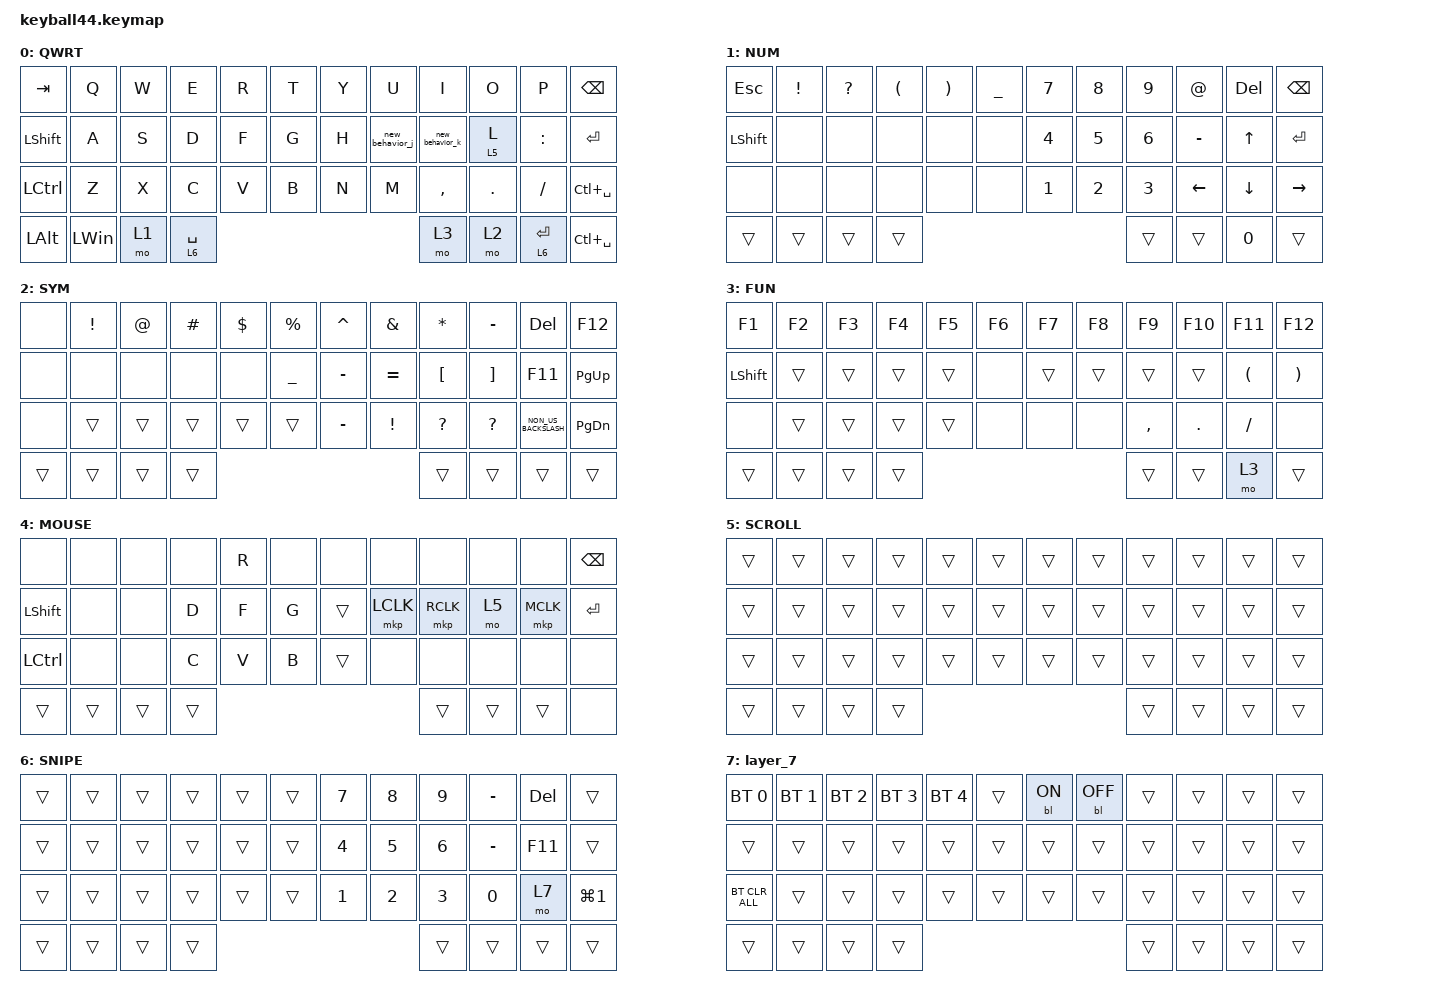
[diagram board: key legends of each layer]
#define DEFAULT 0
#define NUM     1
#define SYM     2
#define FUN     3
#define MOUSE   4
#define SCROLL  5
#define SNIPE   6

#include <behaviors/mouse_keys.dtsi>
#include <dt-bindings/zmk/mouse.h>
#include <behaviors.dtsi>
#include <dt-bindings/zmk/backlight.h>
#include <dt-bindings/zmk/bt.h>
#include <dt-bindings/zmk/keys.h>
#include <dt-bindings/zmk/pointing.h>

&lt {
    tapping-term-ms = <240>;
    flavor = "balanced";
    quick-tap-ms = <150>;
};

&mt {
    tapping-term-ms = <200>;
    flavor = "tap-preferred";
    quick-tap-ms = <150>;
};

&caps_word { continue-list = <UNDERSCORE MINUS>; };

/ {
    // custom shift using mod-morph 

    behaviors {
        cmqus: comma_question {
            compatible = "zmk,behavior-mod-morph";
            label = "COMMA_QUESTION";
            #binding-cells = <0>;
            bindings = <&kp COMMA>, <&kp QUESTION>;

            mods = <(MOD_LSFT|MOD_RSFT)>;
        };

        dtsmi: dot_semi {
            compatible = "zmk,behavior-mod-morph";
            label = "DOT_SEMI";
            #binding-cells = <0>;
            bindings = <&kp DOT>, <&kp SEMI>;

            mods = <(MOD_LSFT|MOD_RSFT)>;
        };

        new_behavior_j: new_behavior_j {
            compatible = "zmk,behavior-tap-dance";
            label = "NEW_BEHAVIOR_J";
            #binding-cells = <0>;
            bindings = <&kp J>, <&mkp MB1>;
        };

        new_behavior_k: new_behavior_k {
            compatible = "zmk,behavior-tap-dance";
            label = "NEW_BEHAVIOR_K";
            #binding-cells = <0>;
            bindings = <&kp K>, <&mkp MB2>;
        };
    };

    combos {
        compatible = "zmk,combos";

        Lcrick {
            bindings = <&mkp LCLK>;
            key-positions = <19 20>;
        };

        Rcrick {
            bindings = <&mkp RCLK>;
            key-positions = <20 21>;
        };

        Space {
            bindings = <&kp SPACE>;
            key-positions = <14 13>;
        };

        F1press {
            bindings = <&kp F1>;
            key-positions = <17 15>;
        };

        F2press {
            bindings = <&kp F2>;
            key-positions = <15 29>;
        };

        conma {
            bindings = <&kp COMMA>;
            key-positions = <32 33>;
        };

        piriod {
            bindings = <&kp PERIOD>;
            key-positions = <33 34>;
        };

        slash {
            bindings = <&kp SLASH>;
            key-positions = <34 35>;
        };
    };

    keymap {
        compatible = "zmk,keymap";

        default_layer {
            label = "QWRT";
            bindings = <
&kp TAB       &kp Q         &kp W  &kp E        &kp R  &kp T             &kp Y        &kp U            &kp I            &kp O       &kp P      &kp BACKSPACE
&kp LSHIFT    &kp A         &kp S  &kp D        &kp F  &kp G             &kp H        &new_behavior_j  &new_behavior_k  &lt 5 L     &kp COLON  &kp ENTER
&kp LCTRL     &kp Z         &kp X  &kp C        &kp V  &kp B             &kp N        &kp M            &kp COMMA        &kp PERIOD  &kp SLASH  &kp LC(SPACE)
&kp LEFT_ALT  &kp LEFT_WIN  &mo 1  &lt 6 SPACE  &mo 3             &mo 2  &lt 6 ENTER                                                           &kp LC(SPACE)
            >;
        };

        number_layer {
            label = "NUM";
            bindings = <
&kp ESCAPE      &kp EXCLAMATION  &kp QUESTION  &kp LEFT_PARENTHESIS  &kp RIGHT_PARENTHESIS  &kp UNDER              &kp N7        &kp N8        &kp N9        &kp AT_SIGN     &kp DEL         &kp BACKSPACE
&kp LEFT_SHIFT  &none            &none         &none                 &none                  &none                  &kp NUMBER_4  &kp N5        &kp NUMBER_6  &kp MINUS       &kp UP_ARROW    &kp ENTER
&none           &none            &none         &none                 &none                  &none                  &kp NUMBER_1  &kp NUMBER_2  &kp NUMBER_3  &kp LEFT_ARROW  &kp DOWN_ARROW  &kp RIGHT
&trans          &trans           &trans        &trans                &trans                                &trans  &kp N0                                                                    &trans
            >;
        };

        symbol_layer {
            label = "SYM";
            bindings = <
&none   &kp EXCLAMATION  &kp AT_SIGN  &kp HASH  &kp DOLLAR  &kp PERCENT              &kp CARET  &kp AMPERSAND    &kp ASTERISK      &kp MINUS          &kp DEL               &kp F12
&none   &none            &none        &none     &none       &kp UNDER                &kp MINUS  &kp EQUAL        &kp LEFT_BRACKET  &kp RIGHT_BRACKET  &kp F11               &kp PAGE_UP
&none   &trans           &trans       &trans    &trans      &trans                   &kp MINUS  &kp EXCLAMATION  &kp QUESTION      &kp QUESTION       &kp NON_US_BACKSLASH  &kp PAGE_DOWN
&trans  &trans           &trans       &trans    &trans                       &trans  &trans                                                                                 &trans
            >;
        };

        function_layer {
            label = "FUN";
            bindings = <
&kp F1          &kp F2  &kp F3  &kp F4  &kp F5  &kp F6              &kp F7  &kp F8  &kp F9     &kp F10     &kp F11               &kp F12
&kp LEFT_SHIFT  &trans  &trans  &trans  &trans  &none               &trans  &trans  &trans     &trans      &kp LEFT_PARENTHESIS  &kp RIGHT_PARENTHESIS
&none           &trans  &trans  &trans  &trans  &none               &none   &none   &kp COMMA  &kp PERIOD  &kp SLASH             &none
&trans          &trans  &trans  &trans  &trans              &trans  &mo 3                                                        &trans
            >;
        };

        mouse_layer {
            label = "MOUSE";
            bindings = <
&none           &none   &none   &none   &kp R   &none              &none   &none      &none      &none  &none      &kp BACKSPACE
&kp LEFT_SHIFT  &none   &none   &kp D   &kp F   &kp G              &trans  &mkp LCLK  &mkp RCLK  &mo 5  &mkp MCLK  &kp ENTER
&kp LCTRL       &none   &none   &kp C   &kp V   &kp B              &trans  &none      &none      &none  &none      &none
&trans          &trans  &trans  &trans  &trans             &trans  &trans                                          &none
            >;
        };

        scroll_layer {
            label = "SCROLL";
            bindings = <
&trans  &trans  &trans  &trans  &trans  &trans              &trans  &trans  &trans  &trans  &trans  &trans
&trans  &trans  &trans  &trans  &trans  &trans              &trans  &trans  &trans  &trans  &trans  &trans
&trans  &trans  &trans  &trans  &trans  &trans              &trans  &trans  &trans  &trans  &trans  &trans
&trans  &trans  &trans  &trans  &trans              &trans  &trans                                  &trans
            >;
        };

        snipe_layer {
            label = "SNIPE";
            bindings = <
&trans  &trans  &trans  &trans  &trans  &trans              &kp N7        &kp N8        &kp N9        &kp MINUS  &kp DEL  &trans
&trans  &trans  &trans  &trans  &trans  &trans              &kp NUMBER_4  &kp N5        &kp NUMBER_6  &kp MINUS  &kp F11  &trans
&trans  &trans  &trans  &trans  &trans  &trans              &kp NUMBER_1  &kp NUMBER_2  &kp NUMBER_3  &kp N0     &mo 7    &kp LG(NUMBER_1)
&trans  &trans  &trans  &trans  &trans              &trans  &trans                                                        &trans
            >;
        };

        layer_7 {
            bindings = <
&bt BT_SEL 0    &bt BT_SEL 1  &bt BT_SEL 2  &bt BT_SEL 3  &bt BT_SEL 4  &trans              &bl BL_ON  &bl BL_OFF  &trans  &trans  &trans  &trans
&trans          &trans        &trans        &trans        &trans        &trans              &trans     &trans      &trans  &trans  &trans  &trans
&bt BT_CLR_ALL  &trans        &trans        &trans        &trans        &trans              &trans     &trans      &trans  &trans  &trans  &trans
&trans          &trans        &trans        &trans        &trans                    &trans  &trans                                         &trans
            >;
        };
    };
};
